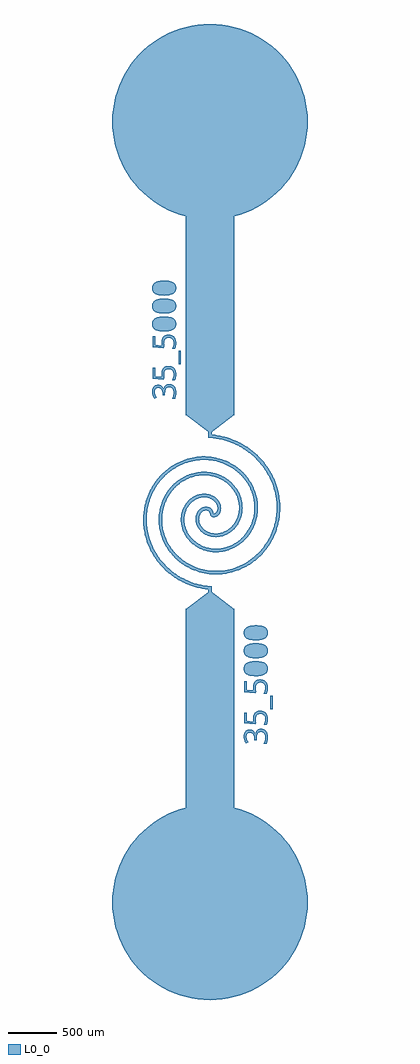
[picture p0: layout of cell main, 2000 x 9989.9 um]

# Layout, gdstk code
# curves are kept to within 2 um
import gdstk
lib = gdstk.Library(unit=1e-6, precision=1e-09)
def R(c, l, rs):  # rectangles x0, y0, x1, y1
    for r in rs: c.add(gdstk.rectangle(r[:2], r[2:], *l))
def P(c, l, *ps):  # polygons
    for p in ps: c.add(gdstk.Polygon(p, *l))
L0_0 = (0, 0)

main = lib.new_cell('main')
R(main, L0_0, [(-69,-1690,431,1314), (798.9,287.9,821.7,426.3), (163.5,1310,198.5,1545), (163.5,3064.9,198.5,3299.9), (-69,3295.9,431,6299.9), (-139.1,3816.4,-116.3,3954.7)])
P(main, L0_0, [(644.8,1022.5),(695.9,1025.4),(731.4,1037.5),(741,1046.7),(746,1058.6),(746.4,1075.2),(741,1089.4),(729.6,1100.1),(715.1,1106.8),(672.7,1113.8),(614.5,1112.8),(590.3,1108.6),(570.1,1100.1),(557.5,1087.6),(552.9,1072.9),(554.8,1054.4),(562.8,1041.8),(576.7,1032.7),(593.4,1027.3)],
  [(649.7,1144.4),(612.1,1142.1),(576.9,1133.8),(556.4,1123.6),(539.1,1107.3),(529.3,1086.2),(528,1056.3),(535.6,1033),(550.8,1015.5),(573.3,1003.2),(598.1,996.4),(632.9,992.7),(677,993.5),(726.1,1004.2),(745.8,1014.9),(760.3,1029),(769.2,1046.8),(772.1,1072.1),(766.9,1097.2),(756.1,1113.9),(739.8,1126.8),(718.4,1136.1),(682.1,1142.9)],
  [(644.8,838.9),(695.9,841.8),(731.4,853.9),(741,863.1),(746,875),(746.4,891.6),(741,905.8),(729.6,916.5),(715.1,923.2),(672.7,930.2),(614.5,929.2),(590.3,925),(570.1,916.5),(557.5,904),(552.9,889.3),(554.8,870.8),(562.8,858.2),(576.7,849.1),(593.4,843.7)],
  [(649.7,960.8),(612.1,958.5),(576.9,950.2),(556.4,940),(539.1,923.7),(529.3,902.6),(528,872.7),(535.6,849.5),(550.8,832),(573.3,819.6),(598.1,812.8),(632.9,809.1),(677,809.9),(726.1,820.6),(745.8,831.3),(760.3,845.4),(769.2,863.1),(772.1,888.5),(766.9,913.6),(756.1,930.3),(739.8,943.2),(718.4,952.5),(682.1,959.3)],
  [(644.8,655.3),(702.7,659.4),(733.3,671.7),(742.1,681.3),(746.4,693.7),(746,710.3),(741,722.2),(731.6,731.6),(715.1,739.6),(672.7,746.6),(603.4,744.1),(584.5,739.6),(568.1,731.6),(557.5,720.4),(552.9,705.7),(554.8,687.2),(562.8,674.7),(576.7,665.5),(593.4,660.1)],
  [(649.7,777.2),(612.1,774.9),(576.9,766.6),(556.4,756.4),(539.1,740.1),(529.3,719),(528,689.1),(535.6,665.9),(550.8,648.4),(573.3,636),(598.1,629.2),(632.9,625.5),(677,626.3),(726.1,637),(745.8,647.7),(760.3,661.9),(769.2,679.6),(772.1,704.9),(766.9,730),(756.1,746.7),(739.8,759.6),(718.4,768.9),(682.1,775.7)],
  [(623,509.8),(626.2,480.3),(558,486.7),(558,573.3),(531,573.3),(531,460.9),(643,452),(652.3,466.6),(648.2,509.6),(655.9,539.7),(671.9,555.1),(698.5,560.2),(716.7,557.2),(729,550.8),(739.2,539.7),(744.1,528.7),(746.9,510.7),(745.8,489.1),(739.2,462.4),(731.4,446.9),(759.4,446.9),(765.1,459),(772.1,498.3),(767.9,538.4),(751.1,568.7),(739.7,578.3),(723,586.2),(703.4,590.2),(682.7,590.1),(665.2,585.9),(650.5,577.8),(637.4,564.3),(629.4,549.7),(624.1,529.9)],
  [(623,189.1),(626.2,159.7),(558,166),(558,252.6),(531,252.6),(531,140.3),(643,131.4),(652.3,146),(648,183.6),(654.1,215.5),(662.9,228),(671.9,234.4),(698.5,239.6),(716.7,236.6),(729,230.2),(739.2,219),(744.1,208),(746.9,190.1),(745.8,168.5),(739.2,141.8),(731.4,126.3),(759.4,126.3),(764.6,137),(772.1,177.6),(767.9,217.8),(751.1,248.1),(726,264.5),(706.9,269.1),(682.7,269.5),(665.2,265.3),(650.5,257.2),(639,245.8),(629.4,229.1),(624.1,209.2)],
  [(584.1,77.8),(563.1,73.3),(549.3,64.7),(538.5,51.9),(529.7,29.1),(527.6,2.2),(530.8,-20.9),(539.2,-44.3),(552,-64.3),(572.3,-49.3),(557.1,-21.4),(552.7,3.2),(555.6,24.7),(567.3,40.9),(588.6,47.4),(603.5,45.1),(614.6,39.4),(624.5,28.8),(631.1,14),(633.7,-29),(658.3,-29),(659.8,13.9),(666.4,34.8),(681.4,50.3),(702.4,54.7),(716.4,52.5),(729.5,46),(739.2,34.6),(744.7,20.7),(747.3,0),(745.9,-21.6),(731.7,-65.3),(759.4,-65.3),(770,-32.6),(771.4,14.7),(762.2,48.9),(746.4,69.8),(732.5,78.7),(716.2,83.8),(696.6,85),(679.9,81.4),(666,73),(657.5,63.6),(643.6,26.4),(636.2,49.2),(622.3,66.1),(606.3,74.8)],
  [(-288.3,4550.9),(-235.3,4555.1),(-204.6,4567.4),(-195.8,4577),(-191.2,4591.6),(-191.9,4605.9),(-198.3,4619.6),(-208.4,4628.6),(-225.7,4636.2),(-274.1,4642.7),(-338,4639.2),(-356.2,4634.3),(-371.8,4625.8),(-381.5,4614.2),(-385.3,4599),(-382.4,4580.8),(-373.5,4568.8),(-361.2,4561.2),(-341.3,4555.1)],
  [(-288.3,4672.9),(-320.8,4671.2),(-357.1,4663.6),(-381.6,4652),(-398.8,4635.8),(-409.4,4611.2),(-410,4584.8),(-402.4,4561.5),(-384.3,4541.9),(-360.9,4530.3),(-335.3,4524.1),(-266.2,4521.6),(-236.7,4525.4),(-208.2,4534.2),(-189.3,4545.5),(-177.7,4557.5),(-168.7,4575.2),(-165.8,4600.6),(-171.1,4625.6),(-184.2,4644.8),(-201.4,4657.1),(-223.7,4665.7),(-250.9,4670.8)],
  [(-297.8,4367.4),(-242.1,4370.3),(-206.5,4382.4),(-197,4391.6),(-191.9,4403.5),(-191.5,4420.1),(-197,4434.3),(-208.4,4445),(-222.8,4451.7),(-265.3,4458.7),(-327.2,4457.2),(-347.6,4453.5),(-367.9,4445),(-379.3,4434.3),(-384.8,4420.1),(-383.8,4401.3),(-376.6,4388.3),(-365.8,4379.9),(-350.6,4373.8)],
  [(-288.3,4489.3),(-320.8,4487.6),(-357.1,4480),(-381.6,4468.4),(-398.8,4452.2),(-409.4,4427.6),(-410,4401.2),(-402.4,4377.9),(-387.1,4360.4),(-368.3,4349.5),(-339.9,4341.3),(-305,4337.6),(-266.2,4338),(-236.7,4341.8),(-208.2,4350.6),(-189.3,4361.9),(-177.7,4373.9),(-168.7,4391.6),(-165.8,4417),(-171.1,4442),(-184.2,4461.2),(-201.4,4473.5),(-223.7,4482.1),(-250.9,4487.2)],
  [(-293.1,4183.8),(-242.1,4186.7),(-206.5,4198.8),(-197,4208),(-191.9,4219.9),(-191.5,4236.5),(-197,4250.7),(-208.4,4261.4),(-222.8,4268.1),(-265.3,4275.1),(-323.4,4274.1),(-347.6,4269.9),(-367.9,4261.4),(-379.3,4250.7),(-385.1,4234.2),(-383.8,4217.7),(-375.1,4203.1),(-363.6,4195.1),(-344.5,4188.6)],
  [(-288.3,4305.7),(-325.8,4303.4),(-357.1,4296.4),(-381.6,4284.9),(-398.8,4268.6),(-409.4,4244),(-410,4217.6),(-402.4,4194.3),(-387.1,4176.8),(-364.7,4164.5),(-339.9,4157.7),(-305,4154),(-266.2,4154.4),(-236.7,4158.2),(-208.2,4167),(-189.3,4178.3),(-177.7,4190.3),(-168.7,4208),(-165.8,4233.4),(-171.1,4258.4),(-184.2,4277.6),(-198.1,4288.1),(-219.6,4297.4),(-250.9,4303.6)],
  [(-315,4042.8),(-311.7,4008.8),(-379.9,4015.1),(-379.9,4101.7),(-407,4101.7),(-407,3989.4),(-295,3980.5),(-285.7,3995.1),(-289.8,4038.1),(-283.9,4064.6),(-277.6,4074.4),(-266,4083.6),(-239.5,4088.7),(-221.2,4085.7),(-208.9,4079.3),(-199.8,4069.7),(-193.3,4055.1),(-192.4,4016),(-198.2,3992.4),(-206.6,3975.4),(-178.6,3975.4),(-174.4,3983.6),(-166.1,4021.8),(-169.2,4063.6),(-183,4092.6),(-206.2,4111.2),(-224.4,4117.2),(-248.7,4119.1),(-267.3,4116.3),(-282.9,4109.4),(-297.3,4097),(-306.2,4083.4),(-312.8,4064.3)],
  [(-315,3722.2),(-311.7,3688.2),(-379.9,3694.5),(-379.9,3781.1),(-407,3781.1),(-407,3668.8),(-295,3659.8),(-285.7,3674.5),(-289.8,3717.4),(-283.9,3744),(-269.2,3761.1),(-242.1,3768.1),(-223.3,3765.7),(-210.5,3759.8),(-200.9,3750.7),(-193.9,3736.5),(-191.9,3698.6),(-198.2,3671.8),(-206.6,3654.8),(-178.6,3654.8),(-174.4,3662.9),(-165.9,3704.5),(-170.1,3746.3),(-184.9,3774.3),(-209.1,3791.8),(-227.7,3797.1),(-252,3798.3),(-270.1,3794.8),(-285.2,3787.2),(-297.3,3776.4),(-307.4,3760.2),(-313.4,3740.7)],
  [(-351.3,3606.3),(-370.5,3603.4),(-386.9,3594.7),(-400.7,3578.2),(-407.6,3560.5),(-410.4,3535.2),(-407.6,3509.5),(-400.3,3487.5),(-386,3464.2),(-365.6,3479.2),(-379.8,3504.4),(-385.3,3531.7),(-382.4,3553.2),(-370.6,3569.4),(-349.3,3575.9),(-324.8,3568.9),(-313.4,3557.3),(-307.5,3544.6),(-304.2,3499.5),(-279.7,3499.5),(-279.1,3534.9),(-272.5,3561.5),(-258.1,3577.9),(-237.7,3583.2),(-214.6,3578.3),(-197.8,3561.4),(-191.8,3542.1),(-191,3516.3),(-196.5,3487.3),(-206.3,3463.2),(-178.6,3463.2),(-167.5,3499.1),(-167,3547.2),(-175.8,3577.4),(-193.7,3600),(-210.7,3609.3),(-224.6,3612.8),(-241.3,3613.5),(-258.1,3609.9),(-271.9,3601.5),(-280.4,3592.1),(-288.7,3575.7),(-294.3,3554.9),(-300.8,3575.9),(-312.7,3592),(-327.7,3601.8)],
  [(181,1510),(183.8,1544.9),(91.5,1558.1),(-11.7,1587.8),(-108.3,1631.8),(-196.2,1688.9),(-252.8,1736.7),(-312.9,1800.9),(-371.4,1883.7),(-405,1947),(-440,2039.7),(-460.7,2135.3),(-467,2217.8),(-461.2,2312.9),(-445.2,2392),(-414.6,2479.6),(-371.9,2560.6),(-318.6,2633.3),(-274.8,2679.4),(-216.8,2727.7),(-164.8,2761.6),(-98.8,2794.4),(-30.2,2818.3),(28.3,2831.2),(98.8,2838.4),(168.7,2836.6),(225.6,2828.4),(291.5,2810.9),(353.7,2785.6),(420.4,2747),(479.6,2699.7),(523.6,2653.4),(566.3,2593.8),(595,2539),(613.1,2491.6),(626,2443.2),(634.4,2384.7),(635.8,2345.7),(632.9,2297.8),(622.9,2241.9),(609.4,2197.4),(587.4,2147),(559.6,2100.6),(532.6,2065.6),(496.1,2028.3),(455.8,1996.6),(412.7,1970.7),(359.9,1948.4),(321.1,1937.6),(266.5,1929.7),(228,1929.2),(190.2,1932.7),(125.7,1948.7),(86.1,1965.7),(55.5,1983.3),(2.6,2026.5),(-38.1,2078),(-58.8,2117.2),(-69.5,2146.2),(-78,2181.4),(-81.7,2216.4),(-80.8,2250.6),(-75.6,2283.5),(-60.4,2329.1),(-37.7,2369),(-12.4,2398.7),(24,2427.3),(63.3,2446),(107.2,2455.3),(148.8,2453.7),(185.5,2442.7),(208.2,2430.1),(224.7,2416.7),(247.8,2385.9),(258.3,2349.9),(257.8,2331.7),(253.1,2314.6),(238.4,2294.6),(219.3,2287.8),(215.8,2288.5),(212.3,2309.2),(201.8,2328.5),(185.8,2343.6),(168.4,2352.4),(146.4,2357),(123.4,2355.5),(103.6,2349.3),(82.4,2336.9),(66,2321.7),(52.3,2303),(43.2,2284.5),(35.5,2256.9),(33.4,2234.6),(35.3,2207.6),(42.1,2180.2),(51.9,2157.1),(76.3,2120.9),(106.5,2092.7),(143.6,2070.2),(191.5,2054.1),(238.8,2049),(282.7,2052.7),(332.4,2066.7),(374.9,2088.1),(400,2105.6),(427.9,2130.8),(449,2154.9),(471,2187.4),(489,2223.4),(500.6,2255.7),(513.1,2325),(510.1,2398),(502.6,2434.8),(490.9,2471.1),(463.5,2527.4),(441.2,2560.5),(414.9,2591.5),(385,2620),(344.7,2650.2),(299.9,2675.4),(251.4,2695),(199.8,2708.4),(145.9,2715.2),(100,2715.5),(53.6,2710.9),(-1.9,2698.6),(-47.3,2682.7),(-91.4,2661.8),(-133.6,2635.9),(-173.2,2605.3),(-209.9,2570.2),(-243.1,2530.8),(-272.2,2487.6),(-305.5,2421.4),(-326.2,2360.2),(-339.1,2296),(-343.6,2240.8),(-341.2,2173.5),(-332.5,2117.3),(-317.7,2061.7),(-292,1996.7),(-264.1,1944.7),(-223,1886),(-182.7,1840.8),(-137.5,1799.7),(-77,1756.5),(-22.1,1726.3),(24.3,1706.2),(97.6,1683.4),(174.1,1669.9),(239.4,1666.1),(318.8,1670.8),(384.7,1682.5),(449.7,1701.2),(525.4,1733.1),(585.6,1767.1),(653.3,1816.5),(705.1,1864.5),(760.7,1929.7),(800.8,1989.6),(834.8,2054),(861.9,2122.2),(881.9,2193.6),(894.4,2267.4),(899,2342.8),(895.7,2418.9),(884.2,2494.9),(864.6,2569.9),(843.1,2628.6),(809.1,2699.7),(776.4,2754.1),(739,2805.9),(697,2854.7),(638.6,2910.9),(587.4,2951.5),(518.4,2996.3),(459.6,3027),(382.2,3058.4),(334,3073.3),(251.4,3091.5),(183.8,3099.8),(181,3064.9),(277.6,3051),(324.7,3039.6),(385.9,3019.9),(444.7,2995.3),(487.1,2973.7),(527.9,2949.7),(579.4,2913.9),(638.8,2863.7),(701.9,2796.2),(755.4,2722.1),(798.7,2642.6),(835.6,2545.1),(855.2,2459),(863.7,2372),(859.6,2271.4),(841,2173.8),(814.1,2094.2),(770.8,2007.5),(724.4,1939.9),(670.5,1879.4),(610.1,1826.8),(555.6,1789.6),(486.3,1753.3),(413.8,1726.4),(339.5,1709.1),(277,1702.1),(202.5,1702.5),(129.6,1712.2),(59.4,1730.8),(-6.9,1757.8),(-68.4,1792.5),(-124.2,1834.2),(-173.6,1882),(-222.2,1944.1),(-255.6,2001.7),(-281,2062.2),(-295.9,2114),(-305.2,2166.5),(-308.8,2229.4),(-305.7,2281.1),(-294.9,2341.3),(-280.3,2389.5),(-260.9,2435.1),(-231.9,2486.1),(-203.3,2524.8),(-171.2,2559.8),(-128.7,2596.3),(-82.7,2626.6),(-34,2650.3),(16.3,2667.3),(67.5,2677.5),(110.1,2680.9),(160.5,2678.9),(232.7,2664.2),(277.6,2647.2),(312.4,2629.1),(344.5,2607.6),(373.6,2583.3),(399.4,2556.5),(425.8,2521.6),(443.9,2490.7),(460.6,2452.1),(470.4,2419.2),(477.2,2379.6),(478.8,2340.3),(475.3,2302.1),(461.2,2248.2),(437.8,2200.1),(406.7,2159.2),(365.4,2123.7),(319.5,2099.3),(267.2,2085.7),(220.8,2084.9),(173.9,2095.5),(127.6,2120.5),(105.3,2141),(88.1,2164),(75.3,2191.5),(69.1,2219.1),(69.2,2245.5),(74.8,2269.2),(86.3,2291.2),(103.4,2308.9),(121.1,2318.6),(140.7,2322.2),(158.1,2318.9),(172.4,2309.2),(179.3,2297.7),(184.3,2273.5),(198.5,2258.6),(211.4,2253.7),(224.8,2252.8),(251.6,2261.3),(275.7,2283.7),(285.3,2300.9),(291.5,2321.2),(292.9,2355.7),(281.9,2395.7),(263.8,2425.5),(234.4,2454.3),(203.5,2473),(167.5,2485.6),(127.6,2490.8),(90.1,2488.5),(47.2,2477.4),(10.1,2459.7),(-36.9,2423.6),(-75.8,2374.8),(-101.3,2320.9),(-109.7,2291.3),(-115.6,2253.9),(-114.4,2188.7),(-98.6,2122.8),(-71.5,2065.5),(-27.5,2007.4),(5.5,1976.6),(36.4,1954),(77.3,1931),(121.6,1913.1),(160.8,1902.5),(209.9,1895.2),(260.4,1894.3),(303.1,1898.6),(354.2,1909.9),(387.8,1921.3),(428.7,1939.6),(475.7,1967.8),(512.4,1996.1),(546.4,2028.6),(577.2,2065.1),(604.2,2105.3),(627.2,2148.7),(648.7,2204.4),(663.2,2263.4),(670.2,2324.7),(669.3,2387.4),(662.3,2439.9),(649.6,2492.1),(626.9,2553.3),(596.2,2611.9),(564.6,2658.1),(519.9,2709.4),(477.3,2748.1),(430.4,2782.4),(368.9,2817.1),(325.2,2836),(256.2,2857.5),(184.1,2870.2),(122.4,2873.8),(47.5,2869.4),(-27.2,2855.3),(-88.4,2836.2),(-147.8,2810.5),(-215.8,2771.1),(-268.9,2731.4),(-327.2,2676.2),(-370.7,2624.2),(-408.8,2567.4),(-441,2506.2),(-466.8,2441.4),(-485.8,2373.6),(-497.6,2303.5),(-502,2231.8),(-497.3,2144.9),(-487.9,2087),(-473.6,2029.8),(-454.3,1973.5),(-423.5,1905.3),(-393.4,1852.8),(-349.5,1790.6),(-309.5,1744),(-253.7,1690.4),(-204.8,1651.7),(-152.5,1616.9),(-82.7,1579.6),(-23.9,1555),(37.3,1535.3),(100.3,1520.7)],
  [(-69,1310),(431,1310),(181,1496.9),(198.5,1510),(163.5,1510),(181,1496.9)],
  [(-69,3299.9),(181,3113),(163.5,3099.9),(198.5,3099.9),(181,3113),(431,3299.9)],
  [(1181,-1690),(1173.1,-1564.7),(1163.3,-1502.6),(1132.1,-1381),(1110.8,-1321.9),(1085.8,-1264.2),(1025.3,-1154.2),(990,-1102.2),(910,-1005.5),(865.5,-961),(768.8,-881),(662.7,-813.7),(549.1,-760.2),(490,-738.9),(368.4,-707.7),(306.3,-697.9),(181,-690),(55.7,-697.9),(-6.4,-707.7),(-128,-738.9),(-187.1,-760.2),(-300.8,-813.7),(-354.8,-845.7),(-406.8,-881),(-503.5,-961),(-548,-1005.5),(-628,-1102.2),(-695.3,-1208.3),(-748.8,-1321.9),(-770.1,-1381),(-801.3,-1502.6),(-811.1,-1564.7),(-819,-1690),(-811.1,-1815.3),(-801.3,-1877.4),(-770.1,-1999),(-748.8,-2058.1),(-723.8,-2115.8),(-663.3,-2225.8),(-628,-2277.8),(-548,-2374.5),(-503.5,-2419),(-406.8,-2499),(-300.8,-2566.3),(-187.1,-2619.8),(-67.7,-2658.6),(-6.4,-2672.3),(55.7,-2682.1),(181,-2690),(306.3,-2682.1),(368.4,-2672.3),(429.7,-2658.6),(549.1,-2619.8),(606.8,-2594.8),(716.8,-2534.3),(768.8,-2499),(865.5,-2419),(910,-2374.5),(990,-2277.8),(1057.3,-2171.7),(1110.8,-2058.1),(1132.1,-1999),(1163.3,-1877.4),(1173.1,-1815.3)],
  [(1181,-1690),(1173.1,-1564.7),(1163.3,-1502.6),(1132.1,-1381),(1110.8,-1321.9),(1085.8,-1264.2),(1025.3,-1154.2),(990,-1102.2),(910,-1005.5),(865.5,-961),(768.8,-881),(662.7,-813.7),(549.1,-760.2),(490,-738.9),(368.4,-707.7),(306.3,-697.9),(181,-690),(55.7,-697.9),(-6.4,-707.7),(-128,-738.9),(-187.1,-760.2),(-300.8,-813.7),(-354.8,-845.7),(-406.8,-881),(-503.5,-961),(-548,-1005.5),(-628,-1102.2),(-695.3,-1208.3),(-748.8,-1321.9),(-770.1,-1381),(-801.3,-1502.6),(-811.1,-1564.7),(-819,-1690),(-811.1,-1815.3),(-801.3,-1877.4),(-770.1,-1999),(-748.8,-2058.1),(-723.8,-2115.8),(-663.3,-2225.8),(-628,-2277.8),(-548,-2374.5),(-503.5,-2419),(-406.8,-2499),(-300.8,-2566.3),(-187.1,-2619.8),(-67.7,-2658.6),(-6.4,-2672.3),(55.7,-2682.1),(181,-2690),(306.3,-2682.1),(368.4,-2672.3),(429.7,-2658.6),(549.1,-2619.8),(606.8,-2594.8),(716.8,-2534.3),(768.8,-2499),(865.5,-2419),(910,-2374.5),(990,-2277.8),(1057.3,-2171.7),(1110.8,-2058.1),(1132.1,-1999),(1163.3,-1877.4),(1173.1,-1815.3)],
  [(1181,6299.9),(1173.1,6425.2),(1163.3,6487.3),(1132.1,6608.9),(1110.8,6668),(1085.8,6725.7),(1025.3,6835.7),(990,6887.7),(910,6984.4),(818.4,7070.4),(768.8,7108.9),(662.7,7176.2),(549.1,7229.7),(429.7,7268.5),(368.4,7282.2),(306.3,7292),(181,7299.9),(55.7,7292),(-6.4,7282.2),(-67.7,7268.5),(-187.1,7229.7),(-300.8,7176.2),(-406.8,7108.9),(-456.4,7070.4),(-548,6984.4),(-628,6887.7),(-663.3,6835.7),(-695.3,6781.6),(-748.8,6668),(-770.1,6608.9),(-801.3,6487.3),(-811.1,6425.2),(-819,6299.9),(-811.1,6174.5),(-801.3,6112.5),(-770.1,5990.9),(-748.8,5931.8),(-695.3,5818.1),(-663.3,5764),(-589.5,5662.4),(-548,5615.3),(-456.4,5529.4),(-406.8,5490.9),(-354.8,5455.5),(-244.8,5395),(-128,5348.8),(-6.4,5317.6),(55.7,5307.8),(181,5299.9),(306.3,5307.8),(368.4,5317.6),(490,5348.8),(606.8,5395),(716.8,5455.5),(768.8,5490.9),(818.4,5529.4),(910,5615.3),(951.5,5662.4),(1025.3,5764),(1057.3,5818.1),(1110.8,5931.8),(1132.1,5990.9),(1163.3,6112.5),(1173.1,6174.5)],
  [(1181,6299.9),(1173.1,6425.2),(1163.3,6487.3),(1132.1,6608.9),(1110.8,6668),(1085.8,6725.7),(1025.3,6835.7),(990,6887.7),(910,6984.4),(818.4,7070.4),(768.8,7108.9),(662.7,7176.2),(549.1,7229.7),(429.7,7268.5),(368.4,7282.2),(306.3,7292),(181,7299.9),(55.7,7292),(-6.4,7282.2),(-67.7,7268.5),(-187.1,7229.7),(-300.8,7176.2),(-406.8,7108.9),(-456.4,7070.4),(-548,6984.4),(-628,6887.7),(-663.3,6835.7),(-695.3,6781.6),(-748.8,6668),(-770.1,6608.9),(-801.3,6487.3),(-811.1,6425.2),(-819,6299.9),(-811.1,6174.5),(-801.3,6112.5),(-770.1,5990.9),(-748.8,5931.8),(-695.3,5818.1),(-663.3,5764),(-589.5,5662.4),(-548,5615.3),(-456.4,5529.4),(-406.8,5490.9),(-354.8,5455.5),(-244.8,5395),(-128,5348.8),(-6.4,5317.6),(55.7,5307.8),(181,5299.9),(306.3,5307.8),(368.4,5317.6),(490,5348.8),(606.8,5395),(716.8,5455.5),(768.8,5490.9),(818.4,5529.4),(910,5615.3),(951.5,5662.4),(1025.3,5764),(1057.3,5818.1),(1110.8,5931.8),(1132.1,5990.9),(1163.3,6112.5),(1173.1,6174.5)])

lib.write_gds('main.gds')
